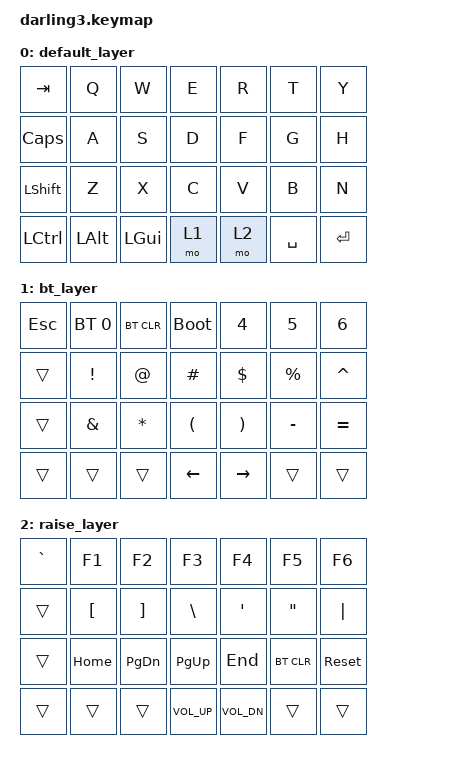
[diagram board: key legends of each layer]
// This file was generated from a template. Edit it to match your keyboard.
// See https://zmk.dev/docs/development/hardware-integration/new-shield for more instructions.

#include <behaviors.dtsi>
#include <dt-bindings/zmk/keys.h>
#include <dt-bindings/zmk/bt.h>


/ {
    // Define a default keymap here.
    // See https://zmk.dev/docs/development/hardware-integration/new-shield#default-keymap.
    keymap {
        compatible = "zmk,keymap";

        default_layer {
            bindings = <
                &kp TAB    &kp Q       &kp W       &kp E       &kp R       &kp T       &kp Y
                &kp CAPS   &kp A       &kp S       &kp D       &kp F       &kp G       &kp H
                &kp LSHFT  &kp Z       &kp X       &kp C       &kp V       &kp B       &kp N
                &kp LCTRL  &kp LALT    &kp LGUI    &mo 1       &mo 2       &kp SPACE   &kp RET
            >;
        };

        bt_layer {
            bindings = <
                &kp ESC      &bt BT_SEL 0  &bt BT_CLR  &bootloader  &kp N4     &kp N5      &kp N6
                &trans       &kp EXCL      &kp AT      &kp HASH     &kp DLLR   &kp PRCNT   &kp CARET
                &trans       &kp AMPS      &kp STAR    &kp LPAR     &kp RPAR   &kp MINUS   &kp EQUAL
                &trans       &trans        &trans      &kp LEFT     &kp RIGHT  &trans      &trans
            >;
        };

        raise_layer {
            bindings = <
                &kp GRAVE  &kp F1      &kp F2      &kp F3      &kp F4      &kp F5      &kp F6
                &trans     &kp LBKT    &kp RBKT    &kp BSLH    &kp SQT     &kp DQT     &kp PIPE
                &trans     &kp HOME    &kp PG_DN   &kp PG_UP   &kp END     &bt BT_CLR  &sys_reset
                &trans     &trans      &trans      &kp C_VOL_UP &kp C_VOL_DN &trans    &trans
            >;
        };
    };
};
